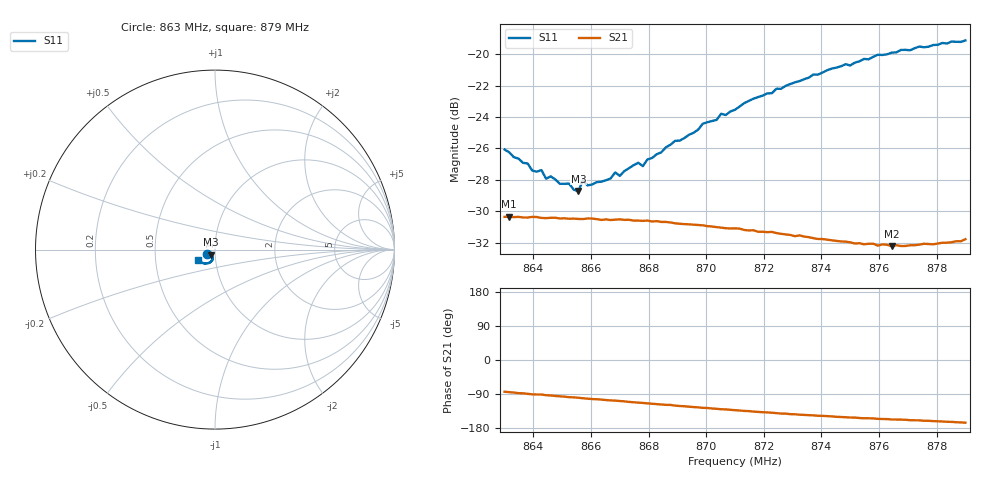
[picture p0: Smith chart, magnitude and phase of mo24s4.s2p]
# HZ S RI R 50
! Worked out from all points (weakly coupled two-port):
!   101 points, 863 MHz to 879 MHz, reference 50 ohm
!   highest |S21| = -30.34 dB at 863.16 MHz (marker M1); lowest = -32.2 dB at 876.44 MHz (marker M2)
!   lowest |S11| = -28.7 dB at 865.56 MHz (marker M3), VSWR 1.08, Z = 47.7 - j2.75 ohm
!   |S11| at or under -10 dB: start of sweep to end of sweep
!   S12 and S22 are empty: the file has one direction only
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8.63e8  -0.042 -0.0267  0.00331 -0.0302  0 0  0 0
8.6316e8  -0.0413 -0.0258  0.00273 -0.0303  0 0  0 0
8.638e8  -0.0362 -0.0266  0.000413 -0.0302  0 0  0 0
8.6396e8  -0.0336 -0.0262  -0.000336 -0.0303  0 0  0 0
8.6428e8  -0.0343 -0.0255  -0.000571 -0.0301  0 0  0 0
8.6444e8  -0.03 -0.0267  -0.00157 -0.03  0 0  0 0
8.646e8  -0.0298 -0.0279  -0.00186 -0.0301  0 0  0 0
8.6556e8  -0.0227 -0.0288  -0.00497 -0.0295  0 0  0 0
8.6572e8  -0.0221 -0.0329  -0.00568 -0.0293  0 0  0 0
8.6588e8  -0.0213 -0.0317  -0.00623 -0.0294  0 0  0 0
8.6668e8  -0.019 -0.0355  -0.00851 -0.0284  0 0  0 0
8.6684e8  -0.0182 -0.0379  -0.00877 -0.0284  0 0  0 0
8.67e8  -0.0159 -0.0378  -0.00934 -0.0283  0 0  0 0
8.6764e8  -0.0154 -0.0424  -0.0113 -0.0273  0 0  0 0
8.678e8  -0.0151 -0.0413  -0.0117 -0.0271  0 0  0 0
8.6796e8  -0.0141 -0.0441  -0.0122 -0.0269  0 0  0 0
8.6844e8  -0.0136 -0.0468  -0.0135 -0.026  0 0  0 0
8.6988e8  -0.0154 -0.0581  -0.0169 -0.023  0 0  0 0
8.71e8  -0.0199 -0.0635  -0.0188 -0.0206  0 0  0 0
8.7372e8  -0.0393 -0.0767  -0.0216 -0.0145  0 0  0 0
8.7644e8  -0.0683 -0.0746  -0.0225 -0.00957  0 0  0 0
8.79e8  -0.0936 -0.0589  -0.0249 -0.00648  0 0  0 0
